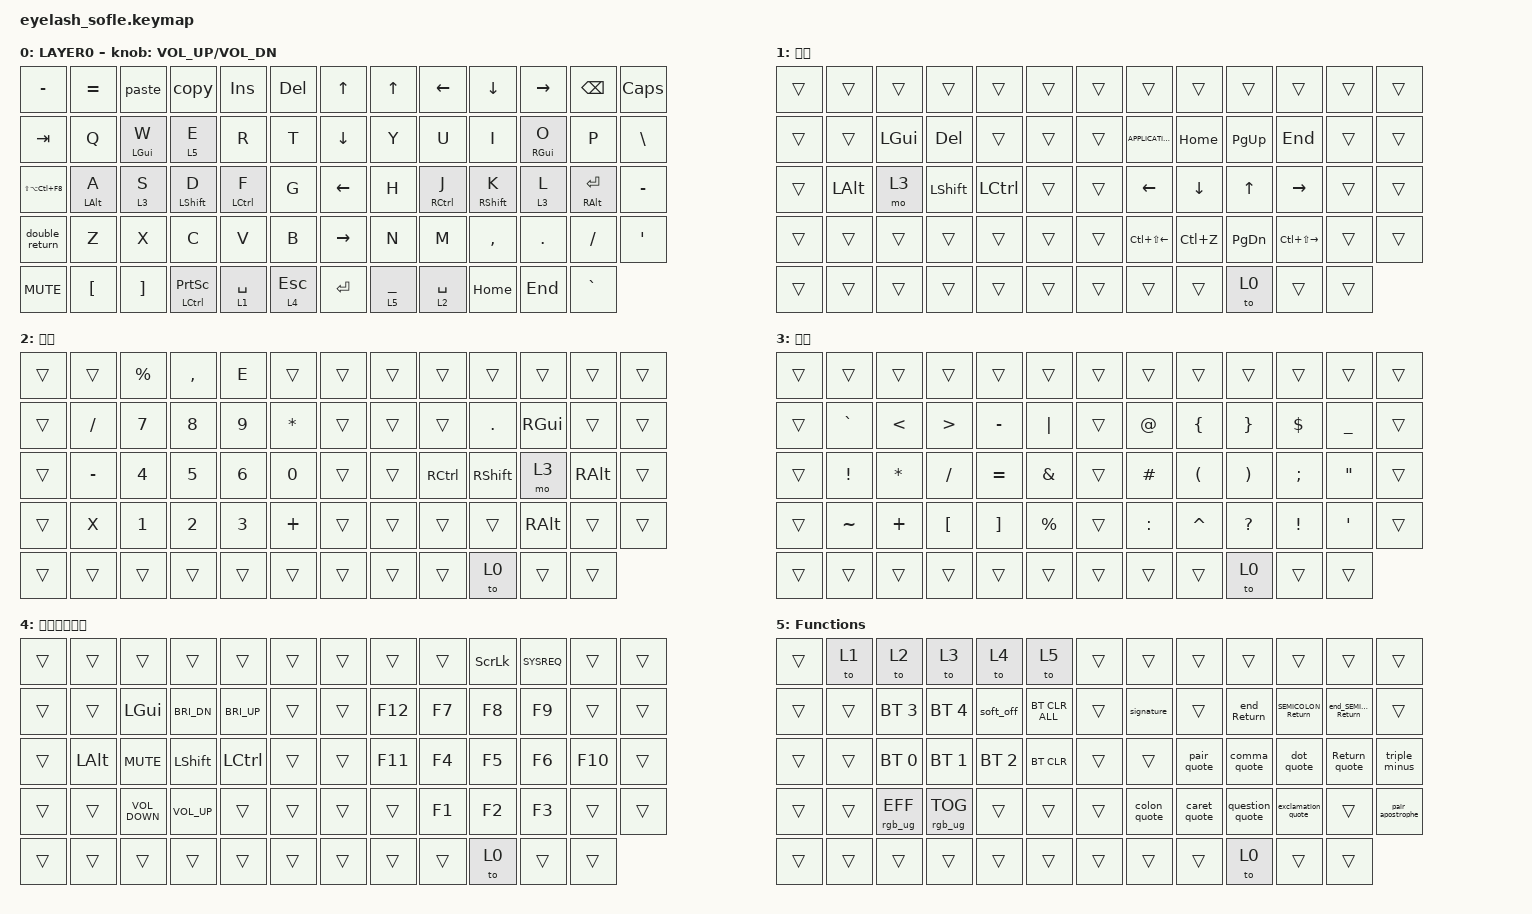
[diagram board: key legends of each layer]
#define ZMK_POINTING_DEFAULT_MOVE_VAL 1200  // 600
#define ZMK_POINTING_DEFAULT_SCRL_VAL 25   // 10

#include <input/processors.dtsi>
#include <zephyr/dt-bindings/input/input-event-codes.h>
#include <behaviors.dtsi>
#include <dt-bindings/zmk/bt.h>
#include <dt-bindings/zmk/keys.h>
#include <dt-bindings/zmk/rgb.h>

&mmv_input_listener { input-processors = <&zip_xy_scaler 2 1>; };

&msc_input_listener { input-processors = <&zip_scroll_scaler 2 1>; };

&soft_off { hold-time-ms = <2000>; };

&sl { release-after-ms = <2000>; };

&mt {
    flavor = "balanced";
    hold-trigger-on-release;
    tapping-term-ms = <250>;
};

/ {
    Llt: Llt {
        compatible = "zmk,behavior-hold-tap";
        label = "LLT";
        bindings = <&mo>, <&kp>;

        #binding-cells = <2>;
        tapping-term-ms = <200>;
        quick-tap-ms = <250>;
        require-prior-idle-ms = <125>;
        flavor = "balanced";
        hold-trigger-key-positions = <53 54 55 56 57 7 8 9 10 11 12 20 21 22 23 24 25 33 34 35 36 37 38 46 47 48 49 50 51 60 61 62 63 59>;
        hold-trigger-on-release;
    };

    Rlt: Rlt {
        compatible = "zmk,behavior-hold-tap";
        label = "RLT";
        bindings = <&mo>, <&kp>;

        #binding-cells = <2>;
        tapping-term-ms = <200>;
        quick-tap-ms = <250>;
        require-prior-idle-ms = <125>;
        flavor = "balanced";
        hold-trigger-key-positions = <53 54 55 56 57 59 0 1 13 14 15 16 17 18 26 27 28 29 30 31 39 40 41 42 43 44 53 54 55 2 3 4 5 60 61 62 63>;
        hold-trigger-on-release;
    };

    Lmt: Lmt {
        compatible = "zmk,behavior-hold-tap";
        label = "LMT";
        bindings = <&kp>, <&kp>;

        #binding-cells = <2>;
        tapping-term-ms = <200>;
        quick-tap-ms = <250>;
        require-prior-idle-ms = <125>;
        flavor = "balanced";
        hold-trigger-key-positions = <53 54 55 56 57 7 8 9 10 11 12 20 21 22 23 24 25 33 34 35 36 37 38 46 47 48 49 50 51 60 61 62 63 59>;
        hold-trigger-on-release;
    };

    Rmt: Rmt {
        compatible = "zmk,behavior-hold-tap";
        label = "RMT";
        bindings = <&kp>, <&kp>;

        #binding-cells = <2>;
        tapping-term-ms = <200>;
        quick-tap-ms = <250>;
        require-prior-idle-ms = <125>;
        flavor = "balanced";
        hold-trigger-key-positions = <53 54 55 56 57 59 0 1 13 14 15 16 17 18 26 27 28 29 30 31 39 40 41 42 43 44 53 54 55 2 3 4 5 60 61 62 63>;
        hold-trigger-on-release;
    };

    ptsrn_ctrl: ptsrn_ctrl {
        compatible = "zmk,behavior-hold-tap";
        label = "PTSRN_CTRL";
        bindings = <&kp>, <&kp>;

        #binding-cells = <2>;
        tapping-term-ms = <250>;
        flavor = "balanced";
        hold-while-undecided;
    };

    de_semicolon: de_semicolon {
        compatible = "zmk,behavior-mod-morph";
        label = "DE_SEMICOLON";
        bindings = <&kp COLON>, <&kp SEMI>;

        #binding-cells = <0>;
        mods = <(MOD_LSFT|MOD_RSFT)>;
    };

    hold_space: hold_space {
        compatible = "zmk,behavior-hold-tap";
        label = "HOLD_SPACE";
        bindings = <&mo>, <&kp>;

        #binding-cells = <2>;
        tapping-term-ms = <200>;
        quick-tap-ms = <150>;
        require-prior-idle-ms = <125>;
        flavor = "balanced";
        hold-trigger-on-release;
    };

    copy: copy {
        compatible = "zmk,behavior-tap-dance";
        label = "COPY";
        #binding-cells = <0>;
        bindings = <&kp LC(C)>, <&kp LC(LS(C))>;

        tapping-term-ms = <350>;
    };

    paste: paste {
        compatible = "zmk,behavior-tap-dance";
        label = "PASTE";
        #binding-cells = <0>;
        bindings = <&kp LC(LS(V))>, <&kp LC(V)>;

        tapping-term-ms = <350>;
    };

    behaviors {
    };

    combos {
        compatible = "zmk,combos";

        Undo {
            bindings = <&kp LC(Z)>;
            key-positions = <2 3>;
        };

        soft_off {
            bindings = <&soft_off>;
            key-positions = <39 40>;
        };

        de_semicolon {
            bindings = <&de_semicolon>;
            key-positions = <48 49>;
            timeout-ms = <300>;
            layers = <0>;
        };
    };

    macros {
        double_return: double_return {
            compatible = "zmk,behavior-macro";
            #binding-cells = <0>;
            bindings = <&kp RETURN &kp RETURN>;
            label = "DOUBLE_RETURN";
        };

        end_SEMICOLON_Return: end_SEMICOLON_Return {
            compatible = "zmk,behavior-macro";
            #binding-cells = <0>;
            bindings = <&kp END &kp SEMICOLON &kp RETURN>;
            label = "END_SEMICOLON_RETURN";
        };

        SEMICOLON_Return: SEMICOLON_Return {
            compatible = "zmk,behavior-macro";
            #binding-cells = <0>;
            bindings = <&kp SEMICOLON &kp RETURN>;
            label = "SEMICOLON_RETURN";
        };

        end_Return: end_Return {
            compatible = "zmk,behavior-macro";
            #binding-cells = <0>;
            bindings = <&kp END &kp RETURN>;
            label = "END_RETURN";
        };

        caret_quote: caret_quote {
            compatible = "zmk,behavior-macro";
            #binding-cells = <0>;
            bindings = <&kp CARET &kp DQT>;
            label = "CARET_QUOTE";
        };

        question_quote: question_quote {
            compatible = "zmk,behavior-macro";
            #binding-cells = <0>;
            bindings = <&kp QUESTION &kp DQT>;
            label = "QUESTION_QUOTE";
        };

        exclamation_quote: exclamation_quote {
            compatible = "zmk,behavior-macro";
            #binding-cells = <0>;
            bindings = <&kp EXCLAMATION &kp DQT>;
            label = "EXCLAMATION_QUOTE";
        };

        colon_quote: colon_quote {
            compatible = "zmk,behavior-macro";
            #binding-cells = <0>;
            bindings = <&kp COLON &kp DQT>;
            label = "COLON_QUOTE";
        };

        comma_quote: comma_quote {
            compatible = "zmk,behavior-macro";
            #binding-cells = <0>;
            bindings = <&kp COMMA &kp DQT>;
            label = "COMMA_QUOTE";
        };

        dot_quote: dot_quote {
            compatible = "zmk,behavior-macro";
            #binding-cells = <0>;
            bindings = <&kp DOT &kp DQT>;
            label = "DOT_QUOTE";
        };

        triple_minus: triple_minus {
            compatible = "zmk,behavior-macro";
            #binding-cells = <0>;
            bindings = <&kp MINUS &kp MINUS &kp MINUS>;
            label = "TRIPLE_MINUS";
        };

        Return_quote: Return_quote {
            compatible = "zmk,behavior-macro";
            #binding-cells = <0>;
            bindings = <&kp RETURN &kp DQT>;
            label = "RETURN_QUOTE";
        };

        pair_quote: pair_quote {
            compatible = "zmk,behavior-macro";
            #binding-cells = <0>;
            bindings =
                <&kp DOUBLE_QUOTES &kp DQT>,
                <&macro_wait_time 30>,
                <&kp LEFT>;

            label = "PAIR_QUOTE";
        };

        pair_apostrophe: pair_apostrophe {
            compatible = "zmk,behavior-macro";
            #binding-cells = <0>;
            bindings =
                <&kp APOSTROPHE &kp APOSTROPHE>,
                <&macro_wait_time 30>,
                <&kp LEFT>;

            label = "PAIR_APOSTROPHE";
        };

        signature: signature {
            compatible = "zmk,behavior-macro";
            #binding-cells = <0>;
            bindings = <&kp LS(D) &kp Y &kp C &kp A &kp L &kp O &kp R>;
            label = "SIGNATURE";
        };
    };

    keymap {
        compatible = "zmk,keymap";

        Default {
            bindings = <
&kp MINUS           &kp EQUAL         &paste           &copy                          &kp INSERT           &kp DELETE              &kp UP_ARROW     &kp UP               &kp LEFT              &kp DOWN            &kp RIGHT         &kp BACKSPACE          &kp CAPSLOCK
&kp TAB             &kp Q             &Lmt LEFT_GUI W  &Llt 5 E                       &kp R                &kp T                   &kp DOWN_ARROW   &kp Y                &kp U                 &kp I               &Rmt RIGHT_GUI O  &kp P                  &kp BACKSLASH
&kp LS(LA(LC(F8)))  &Lmt LEFT_ALT A   &Llt 3 S         &Lmt LEFT_SHIFT D              &Lmt LEFT_CONTROL F  &kp G                   &kp LEFT_ARROW   &kp H                &Rmt RIGHT_CONTROL J  &Rmt RIGHT_SHIFT K  &Rlt 3 L          &Rmt RIGHT_ALT RETURN  &kp MINUS
&double_return      &kp Z             &kp X            &kp C                          &kp V                &kp B                   &kp RIGHT_ARROW  &kp N                &kp M                 &kp COMMA           &kp DOT           &kp FSLH               &kp APOS
&kp C_MUTE          &kp LEFT_BRACKET  &kp RBKT         &ptsrn_ctrl LCTRL PRINTSCREEN  &hold_space 1 SPACE  &hold_space 4 ESCAPE    &kp ENTER        &hold_space 5 UNDER  &hold_space 2 SPACE   &kp HOME            &kp END           &kp GRAVE
            >;

            sensor-bindings = <&inc_dec_kp C_VOLUME_UP C_VOL_DN>;
            display-name = "LAYER0";
            label = "默认层";
        };

        Navigation {
            bindings = <
&trans  &trans    &trans        &trans      &trans     &trans    &trans  &trans             &trans     &trans         &trans             &trans  &trans
&trans  &trans    &kp LEFT_GUI  &kp DELETE  &trans     &trans    &trans  &kp K_APPLICATION  &kp HOME   &kp PAGE_UP    &kp END            &trans  &trans
&trans  &kp LALT  &mo 3         &kp LSHFT   &kp LCTRL  &trans    &trans  &kp LEFT           &kp DOWN   &kp UP_ARROW   &kp RIGHT          &trans  &trans
&trans  &trans    &trans        &trans      &trans     &trans    &trans  &kp LC(LS(LEFT))   &kp LC(Z)  &kp PAGE_DOWN  &kp LC(LS(RIGHT))  &trans  &trans
&trans  &trans    &trans        &trans      &trans     &trans    &trans  &trans             &trans     &to 0          &trans             &trans
            >;

            label = "导航";
        };

        Number {
            bindings = <
&trans  &trans     &kp PERCENT  &kp COMMA  &kp E         &trans      &trans  &trans  &trans     &trans     &trans    &trans    &trans
&trans  &kp FSLH   &kp N7       &kp N8     &kp N9        &kp STAR    &trans  &trans  &trans     &kp DOT    &kp RGUI  &trans    &trans
&trans  &kp MINUS  &kp N4       &kp N5     &kp N6        &kp N0      &trans  &trans  &kp RCTRL  &kp RSHFT  &mo 3     &kp RALT  &trans
&trans  &kp X      &kp N1       &kp N2     &kp NUMBER_3  &kp PLUS    &trans  &trans  &trans     &trans     &kp RALT  &trans    &trans
&trans  &trans     &trans       &trans     &trans        &trans      &trans  &trans  &trans     &to 0      &trans    &trans
            >;

            label = "数字";
        };

        Symbols {
            bindings = <
&trans  &trans           &trans         &trans            &trans             &trans           &trans  &trans     &trans                &trans                 &trans         &trans             &trans
&trans  &kp GRAVE        &kp LESS_THAN  &kp GREATER_THAN  &kp MINUS          &kp PIPE         &trans  &kp AT     &kp LEFT_BRACE        &kp RIGHT_BRACE        &kp DLLR       &kp UNDER          &trans
&trans  &kp EXCLAMATION  &kp STAR       &kp FSLH          &kp EQUAL          &kp AMPERSAND    &trans  &kp HASH   &kp LEFT_PARENTHESIS  &kp RIGHT_PARENTHESIS  &kp SEMICOLON  &kp DOUBLE_QUOTES  &trans
&trans  &kp TILDE        &kp PLUS       &kp LBKT          &kp RIGHT_BRACKET  &kp PERCENT      &trans  &kp COLON  &kp CARET             &kp QUESTION           &kp EXCL       &kp SQT            &trans
&trans  &trans           &trans         &trans            &trans             &trans           &trans  &trans     &trans                &to 0                  &trans         &trans
            >;

            label = "符号";
        };

        Fkey {
            bindings = <
&trans  &trans        &trans             &trans           &trans            &trans    &trans  &trans   &trans  &kp SCROLLLOCK  &kp SYSREQ  &trans   &trans
&trans  &trans        &kp LEFT_GUI       &kp C_BRI_DN     &kp C_BRI_UP      &trans    &trans  &kp F12  &kp F7  &kp F8          &kp F9      &trans   &trans
&trans  &kp LEFT_ALT  &kp C_MUTE         &kp LEFT_SHIFT   &kp LEFT_CONTROL  &trans    &trans  &kp F11  &kp F4  &kp F5          &kp F6      &kp F10  &trans
&trans  &trans        &kp C_VOLUME_DOWN  &kp C_VOLUME_UP  &trans            &trans    &trans  &trans   &kp F1  &kp F2          &kp F3      &trans   &trans
&trans  &trans        &trans             &trans           &trans            &trans    &trans  &trans   &trans  &to 0           &trans      &trans
            >;

            label = "功能区和鼠标";
        };

        Functions {
            bindings = <
&trans  &to 1   &to 2            &to 3            &to 4         &to 5             &trans  &trans        &trans        &trans           &trans              &trans                 &trans
&trans  &trans  &bt BT_SEL 3     &bt BT_SEL 4     &soft_off     &bt BT_CLR_ALL    &trans  &signature    &trans        &end_Return      &SEMICOLON_Return   &end_SEMICOLON_Return  &trans
&trans  &trans  &bt BT_SEL 0     &bt BT_SEL 1     &bt BT_SEL 2  &bt BT_CLR        &trans  &trans        &pair_quote   &comma_quote     &dot_quote          &Return_quote          &triple_minus
&trans  &trans  &rgb_ug RGB_EFF  &rgb_ug RGB_TOG  &trans        &trans            &trans  &colon_quote  &caret_quote  &question_quote  &exclamation_quote  &trans                 &pair_apostrophe
&trans  &trans  &trans           &trans           &trans        &trans            &trans  &trans        &trans        &to 0            &trans              &trans
            >;
        };
    };
};
